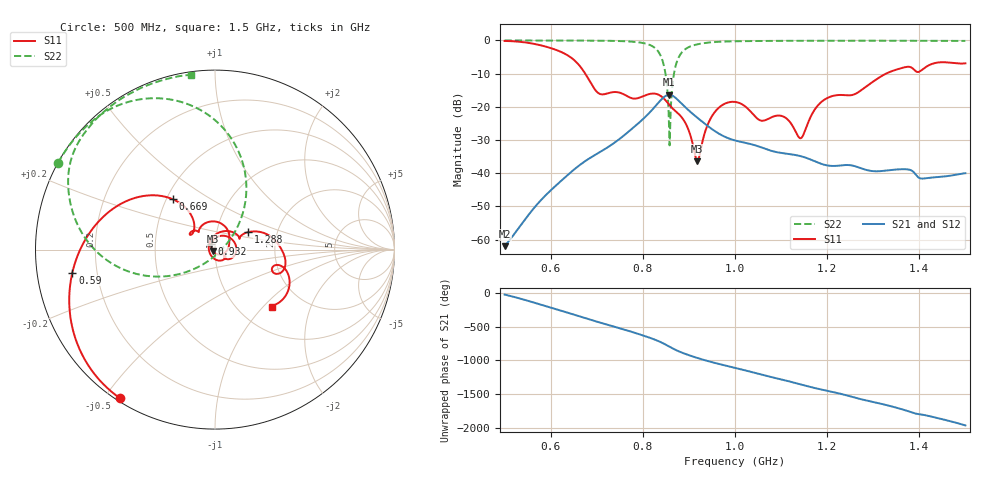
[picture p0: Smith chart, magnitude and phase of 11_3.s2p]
! TOUCHSTONE file generated by CST MICROWAVE STUDIO
! Date and time: Fri Oct  2 16:39:33 2020
! Project name: Scenario_1_Free_Space_out_of_line.cst
! Parameters = {Lambda=346.42; Step_1=17.321; dy1=174.23; dx1=520; L_HA=400; MT=2.54; Rad_Dielectric=30; Rad_Lower=7.3; Rad_Upper=30; a_HA=580; a_WG=246; b_HA=500; b_WG=121; c_HA=0; c_WG=187; d_feed=85; h_feed=15; h_lower=18; h_upper=40}
! Header version: 2018
! Port assignment regex: !\s*Touchstone port\s*([0-9]+)\s*=\s*(CST MWS port|CST DS port)\s*([0-9]+|Zmin|Zmax)\s*\(\"(.*)\"\)(\s*mode\s*([0-9]+))?.*
! Touchstone port assignment:
! Touchstone port 1 = CST MWS port 1 ("")
! Touchstone port 2 = CST MWS port 2 ("")
# GHz S DB R 50
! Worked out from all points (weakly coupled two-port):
!   1003 points, 500 MHz to 1.5 GHz, reference 50 ohm
!   highest |S21| = -16.36 dB at 857 MHz (marker M1); lowest = -62.0 dB at 500 MHz (marker M2)
!   lowest |S11| = -36.4 dB at 918 MHz (marker M3), VSWR 1.03, Z = 48.8 - j0.935 ohm
!   |S11| at or under -10 dB: 675 MHz to 1.328 GHz (652.7 MHz wide, 65.2 % of centre)
!   |S22| runs from -31.6 to 0.0 dB; largest |S21 - S12| = 0.0029
!   S11 on the Smith chart (normalised r, x): 500 MHz: 0.01, -0.55; 590 MHz: 0.11, -0.08; 669 MHz: 0.54, +0.35; 932 MHz: 0.96, +0.06; 1.288 GHz: 1.42, +0.29; 1.5 GHz: 1.40, -1.13
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0.5  -0.15 -122.5  -61.96 -27.4  -61.90 -27.2  -0.01 151.1
0.59  -1.89 -170.9  -46.50 159.5  -46.47 159.7  -0.02 144.9
0.667  -8.37 131.2  -37.12 1.3  -37.11 1.5  -0.05 138.3
0.669  -8.76 129.9  -36.92 -3.0  -36.91 -2.7  -0.05 138.1
0.708  -16.17 140.7  -33.52 -83.9  -33.50 -83.9  -0.08 133.8
0.788  -17.43 132.3  -25.23 115.1  -25.22 115.2  -0.53 117.7
0.834  -16.33 81.2  -18.72 3.8  -18.72 3.8  -3.45 85.6
0.847  -17.70 57.6  -16.94 -38.3  -16.94 -38.4  -8.40 62.6
0.857  -19.34 41.9  -16.36 -75.2  -16.36 -75.2  -26.42 12.4
0.867  -20.81 28.7  -16.86 -111.7  -16.86 -111.7  -10.46 -150.6
0.877  -22.04 13.4  -18.06 -144.0  -18.06 -144.0  -5.32 -169.3
0.918  -36.43 -140.6  -23.25 115.8  -23.25 115.8  -1.18 159.0
0.932  -28.99 124.7  -24.81 86.9  -24.81 86.9  -0.83 154.1
0.96  -20.93 59.5  -27.64 35.1  -27.63 35.1  -0.45 147.1
1  -18.52 -3.1  -30.12 -30.8  -30.11 -30.9  -0.25 140.2
1.055  -24.09 -36.5  -32.10 -127.2  -32.13 -127.1  -0.16 133.9
1.107  -23.06 -59.8  -34.00 147.0  -34.11 146.9  -0.12 129.1
1.141  -29.43 -161.8  -34.80 87.0  -34.79 86.2  -0.11 126.3
1.167  -22.23 93.4  -36.03 40.6  -36.00 40.7  -0.09 124.2
1.288  -13.55 27.7  -39.11 -157.9  -39.10 -158.0  -0.08 115.0
1.334  -9.60 10.5  -39.08 129.5  -39.05 129.5  -0.09 111.5
1.5  -6.90 -45.3  -39.99 -162.7  -39.98 -163.2  -0.15 97.9
